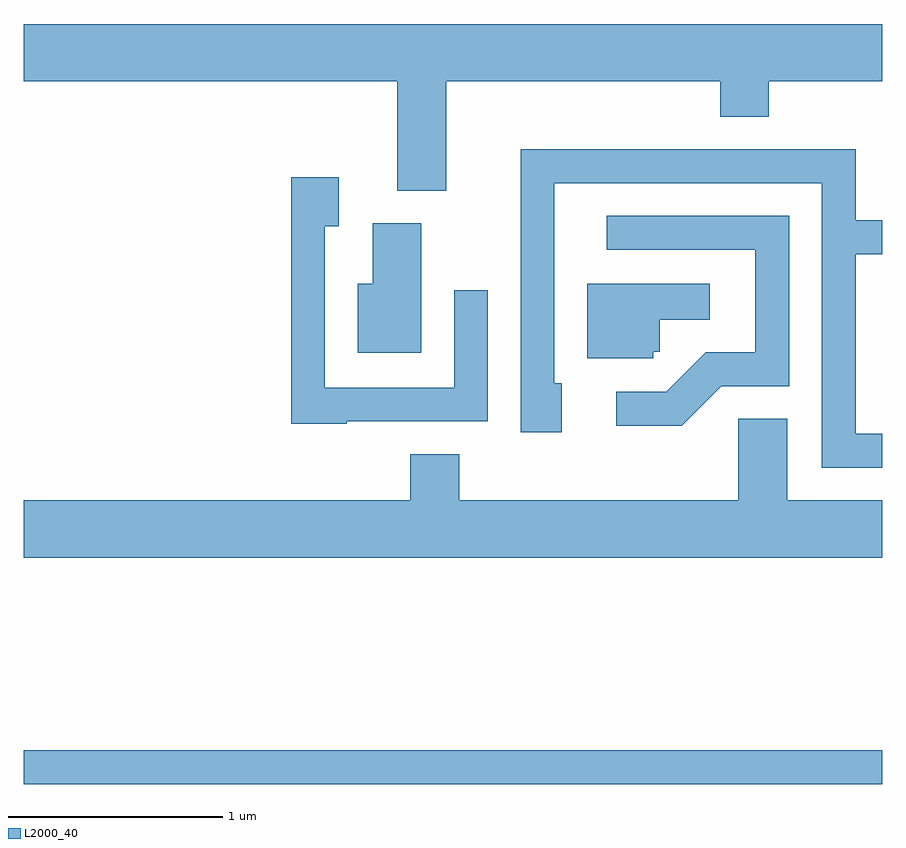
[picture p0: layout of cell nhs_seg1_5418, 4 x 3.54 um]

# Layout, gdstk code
import gdstk
lib = gdstk.Library(unit=1e-6, precision=1e-09)
def R(c, l, rs):  # rectangles x0, y0, x1, y1
    for r in rs: c.add(gdstk.rectangle(r[:2], r[2:], *l))
def P(c, l, *ps):  # polygons
    for p in ps: c.add(gdstk.Polygon(p, *l))
L2000_40 = (2000, 40)

nhs_seg1_5418 = lib.new_cell('nhs_seg1_5418')
R(nhs_seg1_5418, L2000_40, [(347.611,951.801,351.611,951.959)])
P(nhs_seg1_5418, L2000_40, [(349.579,955.076),(350.856,955.076),(350.856,954.911),(351.084,954.911),(351.084,955.076),(351.611,955.076),(351.611,955.344),(347.611,955.344),(347.611,955.076),(349.351,955.076),(349.351,954.566),(349.579,954.566)],
  [(351.611,953.434),(351.489,953.434),(351.489,954.271),(351.611,954.271),(351.611,954.429),(351.489,954.429),(351.489,954.759),(349.926,954.759),(349.926,953.441),(350.119,953.441),(350.119,953.669),(350.084,953.669),(350.084,954.601),(351.331,954.601),(351.331,953.276),(351.611,953.276)],
  [(349.115,953.491),(349.774,953.491),(349.774,954.103),(349.616,954.103),(349.616,953.649),(349.014,953.649),(349.014,954.401),(349.079,954.401),(349.079,954.629),(348.856,954.629),(348.856,953.481),(349.115,953.481)],
  [(350.862,953.656),(351.179,953.656),(351.179,954.449),(350.328,954.449),(350.328,954.291),(351.021,954.291),(351.021,953.814),(350.789,953.814),(350.604,953.629),(350.373,953.629),(350.373,953.471),(350.677,953.471)],
  [(349.464,954.414),(349.236,954.414),(349.236,954.134),(349.166,954.134),(349.166,953.811),(349.464,953.811)],
  [(350.544,953.816),(350.574,953.816),(350.574,953.966),(350.808,953.966),(350.808,954.134),(350.236,954.134),(350.236,953.786),(350.544,953.786)],
  [(351.611,953.124),(351.169,953.124),(351.169,953.504),(350.941,953.504),(350.941,953.124),(349.639,953.124),(349.639,953.339),(349.411,953.339),(349.411,953.124),(347.611,953.124),(347.611,952.856),(351.611,952.856)])

lib.write_gds('nhs_seg1_5418.gds')
